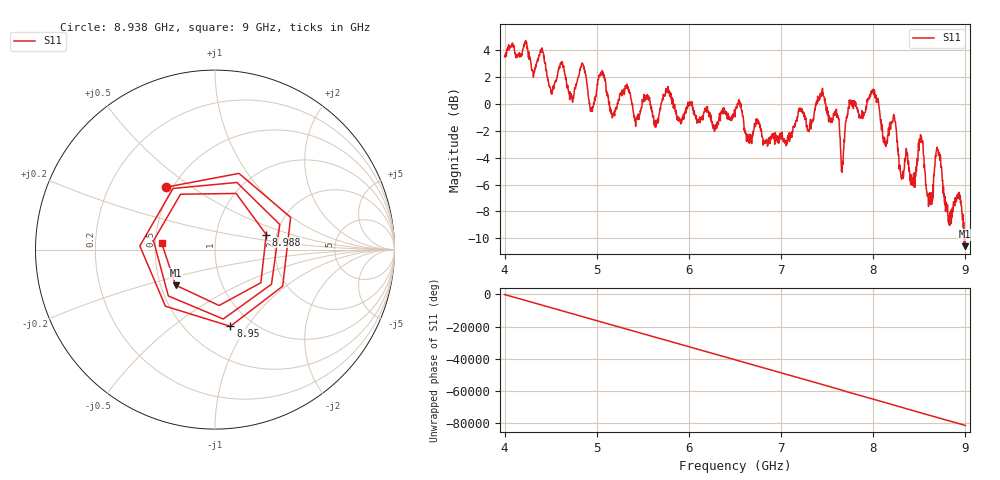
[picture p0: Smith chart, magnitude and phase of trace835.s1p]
! Created with skrf 1.8.0 (http://scikit-rf.org).
# Hz S RI R 50.0
!freq ReS11 ImS11
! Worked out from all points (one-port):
!   1601 points, 4 GHz to 9 GHz, reference 50 ohm
!   lowest |S11| = -10.6 dB at 8.997 GHz (marker M1), VSWR 1.84, Z = 29.9 - j13 ohm
!   |S11| at or under -10 dB: 8.985907 GHz to end of sweep
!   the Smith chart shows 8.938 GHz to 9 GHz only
!   S11 on the Smith chart (normalised r, x): 8.938 GHz: 0.46, +0.40; 8.95 GHz: 0.79, -0.84; 8.988 GHz: 1.76, +0.32; 9 GHz: 0.54, +0.04
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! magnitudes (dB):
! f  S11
! 4 GHz  3.5
! 4.403 GHz  4.1
! 4.509 GHz  0.9
! 4.625 GHz  3.0
! 4.728 GHz  0.4
! 4.85 GHz  2.9
! 4.944 GHz  -0.2
! 5.047 GHz  2.2
! 5.166 GHz  -0.7
! 5.25 GHz  0.6
! 5.875 GHz  -0.9
! 6.5 GHz  -1.0
! 7.125 GHz  -2.1
! 7.447 GHz  1.1
! 7.662 GHz  -5.1
! 7.75 GHz  0.1
! 8.006 GHz  1.0
! 8.375 GHz  -4.5
! 8.438 GHz  -5.2
! 8.516 GHz  -2.3
! 8.619 GHz  -6.8
! 8.706 GHz  -3.6
! 8.822 GHz  -8.3
! 8.938 GHz  -7.1
! 8.95 GHz  -7.2
! 8.988 GHz  -10.5
! 8.997 GHz  -10.6
! 9 GHz  -10.5
